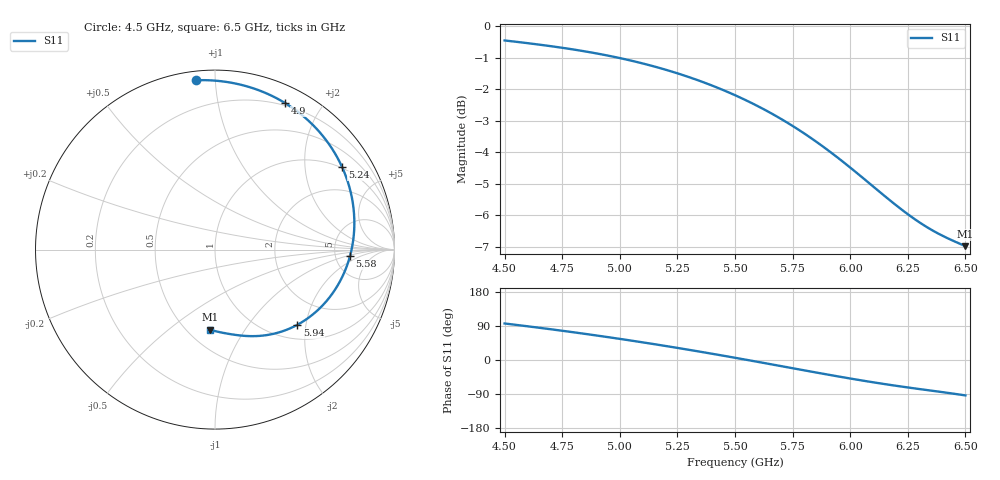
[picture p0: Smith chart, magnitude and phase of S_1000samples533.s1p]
! TOUCHSTONE file generated by CST MICROWAVE STUDIO
! Date and time: Fri Oct 28 12:04:35 2022
! Project name: L.cst
! Parameters = {Di=1.27; Epsilon_r=1.56; InnerDiameter=1.27; Length=2; Lf=10; Lg=60; OuterConductorThickness=0.2921; OuterDiameter=3.6; Wf=3; Wp=41.2; de=1.5; df=6.8; g=0.8; gx=3.98021; gy=4.98764; h=2.34; hf=1.524; px=13.7105; py=12.648; w=9.7; wx=9.73028; wy=7.66039}
! Header version: 2018
! Port assignment regex: !\s*Touchstone port\s*([0-9]+)\s*=\s*(CST MWS port|CST DS port)\s*([0-9]+|Zmin|Zmax)\s*\(\"(.*)\"\)(\s*mode\s*([0-9]+))?.*
! Touchstone port assignment:
! Touchstone port 1 = CST MWS port 1 ("")
# GHz S DB R 50
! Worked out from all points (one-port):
!   101 points, 4.5 GHz to 6.5 GHz, reference 50 ohm
!   lowest |S11| = -7.0 dB at 6.5 GHz (marker M1), VSWR 2.62, Z = 31.9 - j35.6 ohm
!   |S11| at or under -10 dB: nowhere
!   S11 on the Smith chart (normalised r, x): 4.5 GHz: 0.05, +0.89; 4.9 GHz: 0.17, +1.57; 5.24 GHz: 0.97, +3.11; 5.58 GHz: 6.88, -1.18; 5.94 GHz: 1.31, -1.78; 6.5 GHz: 0.64, -0.71
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4.5  -0.45 96.4
4.58  -0.52 90.4
4.64  -0.57 85.9
4.7  -0.63 81.2
4.76  -0.70 76.3
4.84  -0.79 69.7
4.9  -0.86 64.6
5  -1.01 55.7
5.06  -1.11 50.2
5.12  -1.22 44.6
5.18  -1.34 38.8
5.24  -1.47 32.9
5.26  -1.52 30.9
5.32  -1.67 24.8
5.38  -1.83 18.6
5.44  -2.00 12.3
5.5  -2.19 5.9
5.58  -2.47 -2.8
5.66  -2.78 -11.7
5.76  -3.21 -22.8
5.86  -3.70 -33.8
5.94  -4.14 -42.5
6  -4.49 -48.8
6.06  -4.85 -54.9
6.12  -5.21 -60.8
6.26  -6.02 -73.3
6.36  -6.49 -81.5
6.5  -6.98 -93.5
